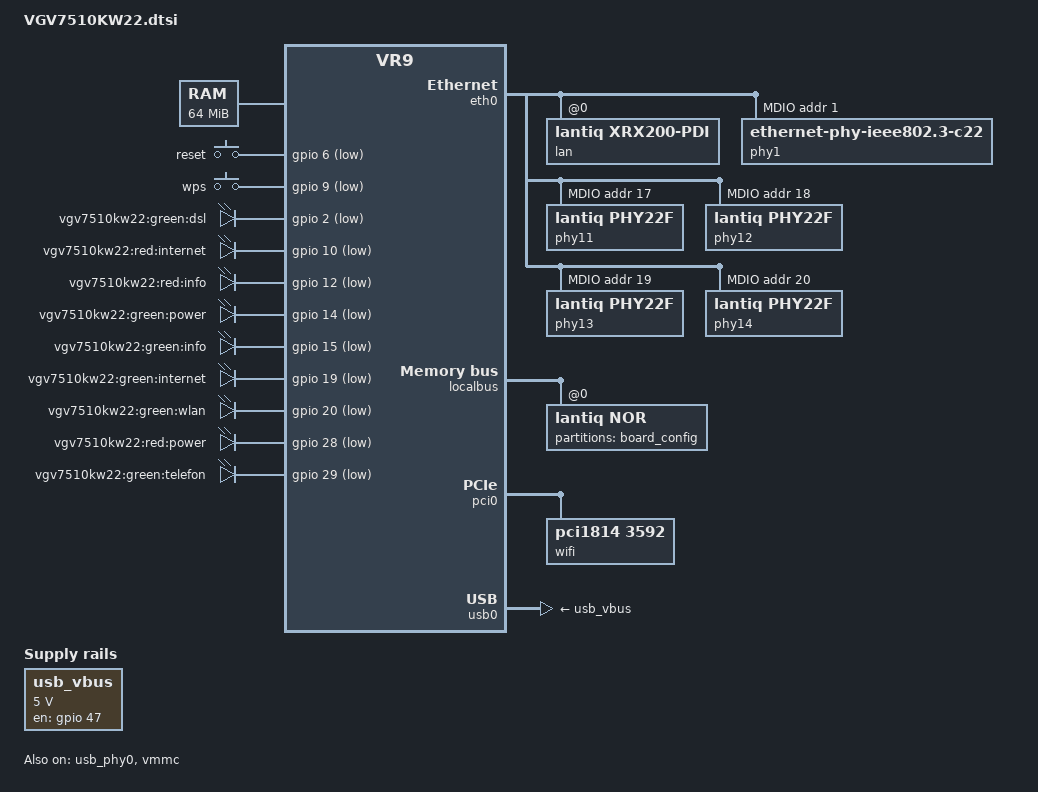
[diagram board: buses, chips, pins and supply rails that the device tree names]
#include "vr9.dtsi"

#include <dt-bindings/input/input.h>
#include <dt-bindings/mips/lantiq_rcu_gphy.h>

/ {
	compatible = "arcadyan,vgv7510kw22", "lantiq,xway", "lantiq,vr9";

	chosen {
		bootargs = "console=ttyLTQ0,115200 mem=62M vpe1_load_addr=0x83e00000 vpe1_mem=2M maxvpes=1 maxtcs=1 nosmp";
	};

	aliases {
		led-boot = &power_green;
		led-failsafe = &power_red;
		led-running = &power_green;

		led-dsl = &dsl;
		led-internet = &internet_green;
		led-wifi = &wifi;
	};

	memory@0 {
		reg = <0x0 0x4000000>;
	};

	gpio-keys-polled {
		compatible = "gpio-keys-polled";
		#address-cells = <1>;
		#size-cells = <0>;
		poll-interval = <100>;

		reset {
			label = "reset";
			gpios = <&gpio 6 GPIO_ACTIVE_LOW>;
			linux,code = <KEY_RESTART>;
		};

		wps {
			label = "wps";
			gpios = <&gpio 9 GPIO_ACTIVE_LOW>;
			linux,code = <KEY_WPS_BUTTON>;
		};
	};

	gpio-leds {
		compatible = "gpio-leds";

		dsl: dsl {
			label = "vgv7510kw22:green:dsl";
			gpios = <&gpio 2 GPIO_ACTIVE_LOW>;
		};

		internet_red {
			label = "vgv7510kw22:red:internet";
			gpios = <&gpio 10 GPIO_ACTIVE_LOW>;
		};

		info_red {
			label = "vgv7510kw22:red:info";
			gpios = <&gpio 12 GPIO_ACTIVE_LOW>;
		};

		power_green: power {
			label = "vgv7510kw22:green:power";
			gpios = <&gpio 14 GPIO_ACTIVE_LOW>;
			default-state = "keep";
		};

		info_green {
			label = "vgv7510kw22:green:info";
			gpios = <&gpio 15 GPIO_ACTIVE_LOW>;
		};

		internet_green: internet_green {
			label = "vgv7510kw22:green:internet";
			gpios = <&gpio 19 GPIO_ACTIVE_LOW>;
		};

		wifi: wifi {
			label = "vgv7510kw22:green:wlan";
			gpios = <&gpio 20 GPIO_ACTIVE_LOW>;
		};

		power_red: power2 {
			label = "vgv7510kw22:red:power";
			gpios = <&gpio 28 GPIO_ACTIVE_LOW>;
		};

		phone {
			label = "vgv7510kw22:green:telefon";
			gpios = <&gpio 29 GPIO_ACTIVE_LOW>;
		};
	};

	usb_vbus: regulator-usb-vbus {
		compatible = "regulator-fixed";

		regulator-name = "USB_VBUS";

		regulator-min-microvolt = <5000000>;
		regulator-max-microvolt = <5000000>;

		gpio = <&gpio 47 GPIO_ACTIVE_HIGH>;
		enable-active-high;
	};
};

&eth0 {
	lan: interface@0 {
		compatible = "lantiq,xrx200-pdi";
		#address-cells = <1>;
		#size-cells = <0>;
		reg = <0>;
		mtd-mac-address = <&boardconfig 0x16>;
		lantiq,switch;

		ethernet@0 {
			compatible = "lantiq,xrx200-pdi-port";
			reg = <0>;
			phy-mode = "mii";
			phy-handle = <&phy1>;
		};
		ethernet@2 {
			compatible = "lantiq,xrx200-pdi-port";
			reg = <2>;
			phy-mode = "mii";
			phy-handle = <&phy11>;
		};
		ethernet@3 {
			compatible = "lantiq,xrx200-pdi-port";
			reg = <3>;
			phy-mode = "mii";
			phy-handle = <&phy12>;
		};
		ethernet@4 {
			compatible = "lantiq,xrx200-pdi-port";
			reg = <4>;
			phy-mode = "mii";
			phy-handle = <&phy13>;
		};
		ethernet@5 {
			compatible = "lantiq,xrx200-pdi-port";
			reg = <5>;
			phy-mode = "mii";
			phy-handle = <&phy14>;
		};
	};

	mdio@0 {
		#address-cells = <1>;
		#size-cells = <0>;
		compatible = "lantiq,xrx200-mdio";
		reg = <0>;

		phy1: ethernet-phy@1 {
			reg = <0x1>;
			compatible = "ethernet-phy-ieee802.3-c22";
		};

		phy11: ethernet-phy@11 {
			reg = <0x11>;
			compatible = "lantiq,phy22f", "ethernet-phy-ieee802.3-c22";
		};
		phy12: ethernet-phy@12 {
			reg = <0x12>;
			compatible = "lantiq,phy22f", "ethernet-phy-ieee802.3-c22";
		};
		phy13: ethernet-phy@13 {
			reg = <0x13>;
			compatible = "lantiq,phy22f", "ethernet-phy-ieee802.3-c22";
		};
		phy14: ethernet-phy@14 {
			reg = <0x14>;
			compatible = "lantiq,phy22f", "ethernet-phy-ieee802.3-c22";
		};
	};
};

&gphy0 {
	lantiq,gphy-mode = <GPHY_MODE_FE>;
};

&gphy1 {
	lantiq,gphy-mode = <GPHY_MODE_FE>;
};

&gpio {
	pinctrl-names = "default";
	pinctrl-0 = <&state_default>;

	state_default: pinmux {
		gphy-leds {
			lantiq,groups = "gphy0 led0", "gphy0 led1",
					"gphy1 led0", "gphy1 led1";
			lantiq,function = "gphy";
			lantiq,open-drain = <0>;
			lantiq,pull = <2>;
			lantiq,output = <1>;
		};
		mdio {
			lantiq,groups = "mdio";
			lantiq,function = "mdio";
		};
		pci-rst {
			lantiq,pins = "io21";
			lantiq,open-drain = <0>;
			lantiq,pull = <0>;
			lantiq,output = <1>;
		};
	};
};

&localbus {
	nor@0 {
		compatible = "lantiq,nor";
		bank-width = <2>;
		reg = <0 0x0 0x1000000>;
		#address-cells = <1>;
		#size-cells = <1>;

		partitions {
			compatible = "fixed-partitions";
			#address-cells = <1>;
			#size-cells = <1>;

			boardconfig: partition@fe0000 {
				label = "board_config";
				reg = <0xfe0000 0x20000>;
				read-only;
			};
		};
	};
};

&pci0 {
	status = "okay";
	gpio-reset = <&gpio 21 GPIO_ACTIVE_HIGH>;

	wifi@1814,3592 {
		compatible = "pci1814,3592";
		reg = <0x7000 0 0 0 0>;
		ralink,mtd-eeprom = <&boardconfig 0x410>;
		ralink,mtd-eeprom-swap;
		mtd-mac-address = <&boardconfig 0x16>;
		mtd-mac-address-increment = <1>;
	};
};

&pcie0 {
	status = "disabled";
};

&usb_phy0 {
	status = "okay";
};

&usb0 {
	status = "okay";
	vbus-supply = <&usb_vbus>;
};

&vmmc {
	status = "okay";
	gpios = <&gpio 30 GPIO_ACTIVE_HIGH  //fxs relay
			 &gpio 31 GPIO_ACTIVE_HIGH  //still unknown
			 &gpio 3  GPIO_ACTIVE_HIGH>; //reset_slic?
};
